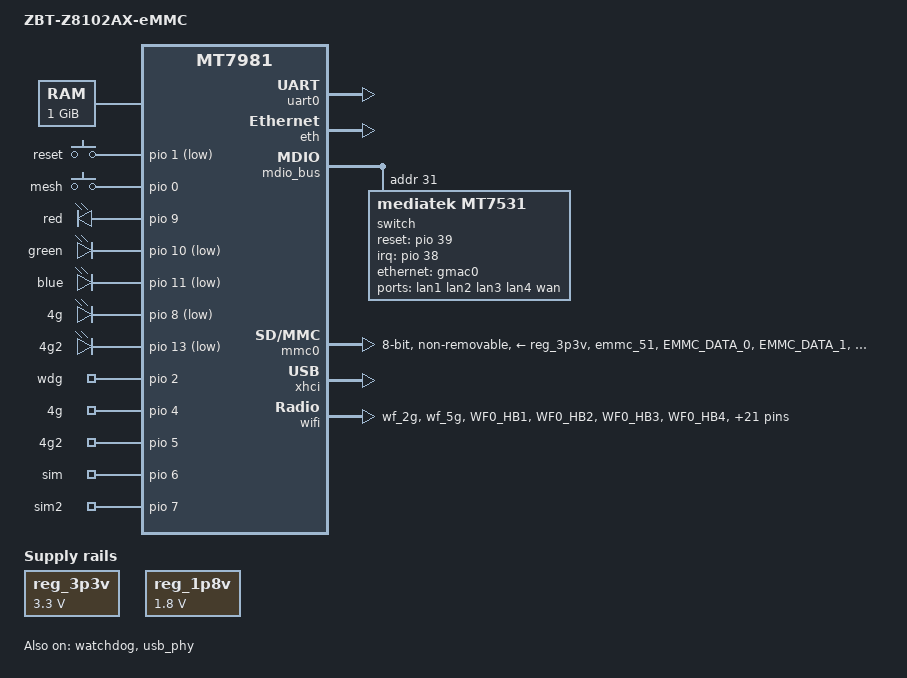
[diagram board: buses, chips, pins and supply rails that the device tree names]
// SPDX-License-Identifier: (GPL-2.0 OR MIT)
/*
 * Device Tree Source for ZBT Z8102AX V2 eMMC Version
 * Copyright (C) 2025
 * Based on the original Z8102AX V2 with eMMC storage modification
 */

/dts-v1/;

#include <dt-bindings/gpio/gpio.h>
#include <dt-bindings/input/input.h>
#include <dt-bindings/interrupt-controller/irq.h>
#include <dt-bindings/pinctrl/mt65xx.h>

#include "mt7981.dtsi"

/ {
	model = "ZBT-Z8102AX-eMMC";
	compatible = "zbtlink,z8102ax-emmc", "mediatek,mt7981-emmc-rfb";

	aliases {
		serial0 = &uart0;
		led-boot = &led_status;
		led-failsafe = &led_status;
		led-running = &led_status;
		led-upgrade = &led_status;
	};

	chosen {
		stdout-path = "serial0:115200n8";
	};

	memory@40000000 {
		device_type = "memory";
		/* Memory region: base address 0x40000000, size 0x40000000 (1GB) */
		reg = <0 0x40000000 0 0x40000000>;
	};

	gpio-keys {
		compatible = "gpio-keys";

		reset {
			label = "reset";
			gpios = <&pio 1 GPIO_ACTIVE_LOW>;
			linux,code = <KEY_RESTART>;
		};

		mesh {
			label = "mesh";
			gpios = <&pio 0 GPIO_ACTIVE_HIGH>;
			linux,code = <BTN_0>;
		};
	};

	leds {
		compatible = "gpio-leds";

		red {
			label = "red";
			gpios = <&pio 9 GPIO_ACTIVE_HIGH>;
		};

		green {
			label = "green";
			gpios = <&pio 10 GPIO_ACTIVE_LOW>;
		};

		led_status: blue {
			label = "blue";
			gpios = <&pio 11 GPIO_ACTIVE_LOW>;
		};

		4g {
			label = "4g";
			gpios = <&pio 8 GPIO_ACTIVE_LOW>;
		};

		4g2 {
			label = "4g2";
			gpios = <&pio 13 GPIO_ACTIVE_LOW>;
		};
	};

	gpio-export {
		compatible = "gpio-export";
		#size-cells = <0>;

		wdg {
			gpio-export,name = "wdg";
			gpio-export,output = <1>;
			gpios = <&pio 2 GPIO_ACTIVE_HIGH>;
		};

		4g {
			gpio-export,name = "4g";
			gpio-export,output = <1>;
			gpios = <&pio 4 GPIO_ACTIVE_HIGH>;
		};

		4g2 {
			gpio-export,name = "4g2";
			gpio-export,output = <1>;
			gpios = <&pio 5 GPIO_ACTIVE_HIGH>;
		};

		sim {
			gpio-export,name = "sim";
			gpio-export,output = <1>;
			gpios = <&pio 6 GPIO_ACTIVE_HIGH>;
		};

		sim2 {
			gpio-export,name = "sim2";
			gpio-export,output = <1>;
			gpios = <&pio 7 GPIO_ACTIVE_HIGH>;
		};
	};

	reg_3p3v: regulator-3p3v {
		compatible = "regulator-fixed";
		regulator-name = "fixed-3.3V";
		regulator-min-microvolt = <3300000>;
		regulator-max-microvolt = <3300000>;
		regulator-boot-on;
		regulator-always-on;
	};

	reg_1p8v: regulator-1p8v {
		compatible = "regulator-fixed";
		regulator-name = "fixed-1.8V";
		regulator-min-microvolt = <1800000>;
		regulator-max-microvolt = <1800000>;
		regulator-boot-on;
		regulator-always-on;
	};
};

&uart0 {
	status = "okay";
};

&watchdog {
	status = "okay";
};

&eth {
	status = "okay";

	gmac0: mac@0 {
		compatible = "mediatek,eth-mac";
		reg = <0>;
		phy-mode = "2500base-x";

		fixed-link {
			speed = <2500>;
			full-duplex;
			pause;
		};
	};

	gmac1: mac@1 {
		compatible = "mediatek,eth-mac";
		reg = <1>;
		phy-mode = "gmii";
		phy-handle = <&int_gbe_phy>;
	};
};

&mdio_bus {
	switch: switch@1f {
		compatible = "mediatek,mt7531";
		reg = <31>;
		reset-gpios = <&pio 39 GPIO_ACTIVE_HIGH>;
		interrupt-controller;
		#interrupt-cells = <1>;
		interrupt-parent = <&pio>;
		interrupts = <38 IRQ_TYPE_LEVEL_HIGH>;

		ports {
			#address-cells = <1>;
			#size-cells = <0>;

			port@0 {
				reg = <0>;
				label = "lan1";
			};

			port@1 {
				reg = <1>;
				label = "lan2";
			};

			port@2 {
				reg = <2>;
				label = "lan3";
			};

			port@3 {
				reg = <3>;
				label = "lan4";
			};

			port@4 {
				reg = <4>;
				label = "wan";
			};

			port@6 {
				reg = <6>;
				ethernet = <&gmac0>;
				phy-mode = "2500base-x";

				fixed-link {
					speed = <2500>;
					full-duplex;
					pause;
				};
			};
		};
	};
};

&spi0 {
	pinctrl-names = "default";
	pinctrl-0 = <&spi0_flash_pins>;
	/* SPI flash disabled for eMMC version - eMMC replaces SPI-NAND storage */
	status = "disabled";
};

// eMMC Configuration
&mmc0 {
	pinctrl-names = "default", "state_uhs";
	pinctrl-0 = <&mmc0_pins_default>;
	pinctrl-1 = <&mmc0_pins_uhs>;
	bus-width = <8>;
	max-frequency = <200000000>;
	cap-mmc-highspeed;
	mmc-hs200-1_8v;
	mmc-hs400-1_8v;
	hs400-ds-delay = <0x14014>;
	vmmc-supply = <&reg_3p3v>;
	vqmmc-supply = <&reg_1p8v>;
	non-removable;
	no-sd;
	no-sdio;
	status = "okay";

	partitions {
		compatible = "fixed-partitions";
		#address-cells = <1>;
		#size-cells = <1>;

		partition@0 {
			label = "bl2";
			reg = <0x0 0x100000>; // 1MB
			read-only;
		};

		partition@100000 {
			label = "u-boot-env";
			reg = <0x100000 0x80000>; // 512KB
		};

		partition@180000 {
			label = "factory";
			reg = <0x180000 0x200000>; // 2MB
			read-only;
		};

		partition@380000 {
			label = "fip";
			reg = <0x380000 0x200000>; // 2MB
			read-only;
		};

		partition@580000 {
			label = "kernel";
			reg = <0x580000 0x2000000>; // 32MB
		};

		partition@2580000 {
			label = "rootfs";
			/* 7GB rootfs partition for squashfs image */
			reg = <0x2580000 0x1c0000000>;
		};
	};
};

&pio {
	mmc0_pins_default: mmc0-pins-default {
		mux {
			function = "emmc";
			groups = "emmc_51";
		};
		conf-cmd-dat {
			pins = "EMMC_DATA_0", "EMMC_DATA_1", "EMMC_DATA_2",
			       "EMMC_DATA_3", "EMMC_DATA_4", "EMMC_DATA_5",
			       "EMMC_DATA_6", "EMMC_DATA_7", "EMMC_CMD";
			input-enable;
			drive-strength = <4>;
			bias-pull-up = <MTK_PUPD_SET_R1R0_01>;
		};
		conf-clk {
			pins = "EMMC_CK";
			drive-strength = <6>;
			bias-pull-down = <MTK_PUPD_SET_R1R0_10>;
		};
		conf-ds {
			pins = "EMMC_DSL";
			bias-pull-down = <MTK_PUPD_SET_R1R0_10>;
		};
		conf-rst {
			pins = "EMMC_RSTB";
			drive-strength = <4>;
			bias-pull-up = <MTK_PUPD_SET_R1R0_01>;
		};
	};

	mmc0_pins_uhs: mmc0-pins-uhs {
		mux {
			function = "emmc";
			groups = "emmc_51";
		};
		conf-cmd-dat {
			pins = "EMMC_DATA_0", "EMMC_DATA_1", "EMMC_DATA_2",
			       "EMMC_DATA_3", "EMMC_DATA_4", "EMMC_DATA_5",
			       "EMMC_DATA_6", "EMMC_DATA_7", "EMMC_CMD";
			input-enable;
			drive-strength = <4>;
			bias-pull-up = <MTK_PUPD_SET_R1R0_01>;
		};
		conf-clk {
			pins = "EMMC_CK";
			drive-strength = <6>;
			bias-pull-down = <MTK_PUPD_SET_R1R0_10>;
		};
		conf-ds {
			pins = "EMMC_DSL";
			bias-pull-down = <MTK_PUPD_SET_R1R0_10>;
		};
		conf-rst {
			pins = "EMMC_RSTB";
			drive-strength = <4>;
			bias-pull-up = <MTK_PUPD_SET_R1R0_01>;
		};
	};

	spi0_flash_pins: spi0-pins {
		mux {
			function = "spi";
			groups = "spi0", "spi0_wp_hold";
		};
	};
};

&usb_phy {
	status = "okay";
};

&xhci {
	status = "okay";
	mediatek,u3p-dis-msk = <0x0>;
};

&wifi {
	status = "okay";
	pinctrl-names = "default", "dbdc";
	pinctrl-0 = <&wf_2g_5g_pins>;
	pinctrl-1 = <&wf_dbdc_pins>;

	mediatek,mtd-eeprom = <&factory 0x0>;
};

&pio {
	wf_2g_5g_pins: wf-2g-5g-pins {
		mux {
			function = "wifi";
			groups = "wf_2g", "wf_5g";
		};
		conf {
			pins = "WF0_HB1", "WF0_HB2", "WF0_HB3", "WF0_HB4",
			       "WF0_HB0", "WF0_HB0_B", "WF0_HB5", "WF0_HB6",
			       "WF0_HB7", "WF0_HB8", "WF0_HB9", "WF0_HB10",
			       "WF0_TOP_CLK", "WF0_TOP_DATA", "WF1_HB1",
			       "WF1_HB2", "WF1_HB3", "WF1_HB4", "WF1_HB0",
			       "WF1_HB5", "WF1_HB6", "WF1_HB7", "WF1_HB8",
			       "WF1_TOP_CLK", "WF1_TOP_DATA";
			drive-strength = <4>;
		};
	};

	wf_dbdc_pins: wf-dbdc-pins {
		mux {
			function = "wifi";
			groups = "wf_dbdc";
		};
		conf {
			pins = "WF0_HB1", "WF0_HB2", "WF0_HB3", "WF0_HB4",
			       "WF0_HB0", "WF0_HB0_B", "WF0_HB5", "WF0_HB6",
			       "WF0_HB7", "WF0_HB8", "WF0_HB9", "WF0_HB10",
			       "WF0_TOP_CLK", "WF0_TOP_DATA", "WF1_HB1",
			       "WF1_HB2", "WF1_HB3", "WF1_HB4", "WF1_HB0",
			       "WF1_HB5", "WF1_HB6", "WF1_HB7", "WF1_HB8",
			       "WF1_TOP_CLK", "WF1_TOP_DATA";
			drive-strength = <4>;
		};
	};
};
